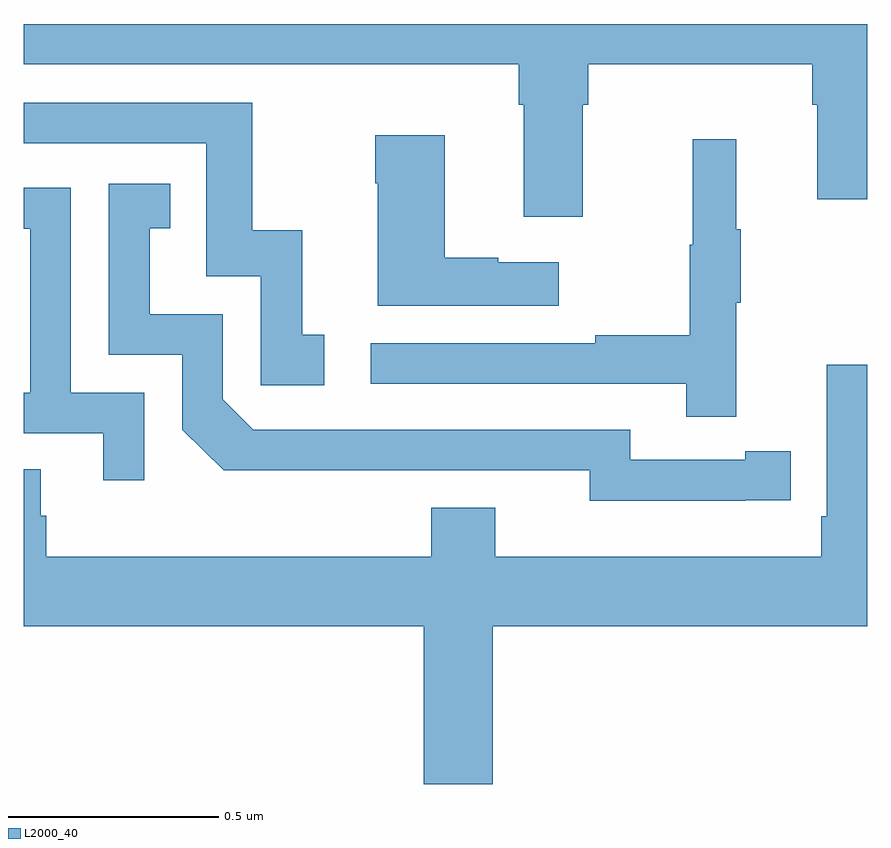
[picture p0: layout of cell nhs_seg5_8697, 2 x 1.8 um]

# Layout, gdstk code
import gdstk
lib = gdstk.Library(unit=1e-6, precision=1e-09)
def P(c, l, *ps):  # polygons
    for p in ps: c.add(gdstk.Polygon(p, *l))
L2000_40 = (2000, 40)

nhs_seg5_8697 = lib.new_cell('nhs_seg5_8697')
P(nhs_seg5_8697, L2000_40, [(224,912.704),(225.173,912.704),(225.173,912.608),(225.185,912.608),(225.185,912.342),(225.325,912.342),(225.325,912.608),(225.338,912.608),(225.338,912.704),(225.869,912.704),(225.869,912.608),(225.881,912.608),(225.881,912.384),(226,912.384),(226,912.799),(224,912.799)],
  [(224.713,912.063),(224.66,912.063),(224.66,912.31),(224.542,912.31),(224.542,912.612),(224,912.612),(224,912.516),(224.433,912.516),(224.433,912.201),(224.562,912.201),(224.562,911.943),(224.713,911.943)],
  [(225.268,912.235),(225.125,912.235),(225.125,912.245),(224.998,912.245),(224.998,912.535),(224.833,912.535),(224.833,912.422),(224.84,912.422),(224.84,912.131),(225.268,912.131)],
  [(225.689,912.139),(225.7,912.139),(225.7,912.313),(225.689,912.313),(225.689,912.526),(225.586,912.526),(225.586,912.276),(225.579,912.276),(225.579,912.062),(225.355,912.062),(225.355,912.042),(224.823,912.042),(224.823,911.946),(225.571,911.946),(225.571,911.868),(225.689,911.868)],
  [(225.71,911.67),(225.818,911.67),(225.818,911.786),(225.71,911.786),(225.71,911.766),(225.438,911.766),(225.438,911.838),(224.544,911.838),(224.472,911.91),(224.472,912.111),(224.299,912.111),(224.299,912.315),(224.348,912.315),(224.348,912.421),(224.202,912.421),(224.202,912.015),(224.376,912.015),(224.376,911.838),(224.474,911.741),(224.882,911.741),(224.882,911.742),(225.342,911.742),(225.342,911.669),(225.71,911.669)],
  [(224.286,911.925),(224.112,911.925),(224.112,912.411),(224,912.411),(224,912.314),(224.016,912.314),(224.016,911.925),(224,911.925),(224,911.829),(224.189,911.829),(224.189,911.718),(224.286,911.718)],
  [(225.112,911.372),(226,911.372),(226,911.992),(225.903,911.992),(225.903,911.632),(225.89,911.632),(225.89,911.536),(225.118,911.536),(225.118,911.653),(224.966,911.653),(224.966,911.536),(224.054,911.536),(224.054,911.634),(224.041,911.634),(224.041,911.744),(224,911.744),(224,911.372),(224.948,911.372),(224.948,910.998),(225.112,910.998)])

lib.write_gds('nhs_seg5_8697.gds')
